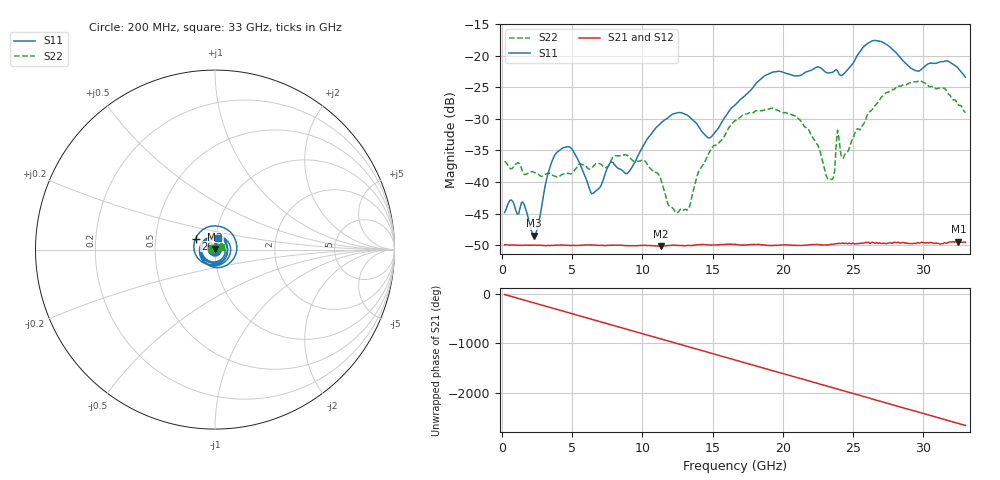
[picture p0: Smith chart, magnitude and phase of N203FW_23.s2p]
# GHZ S RI R 50
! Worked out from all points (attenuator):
!   329 points, 200 MHz to 33 GHz, reference 50 ohm
!   highest |S21| = -49.46 dB at 32.5 GHz (marker M1); lowest = -50.2 dB at 11.3 GHz (marker M2)
!   lowest |S11| = -48.5 dB at 2.3 GHz (marker M3), VSWR 1.01, Z = 50.1 + j0.353 ohm
!   |S11| at or under -10 dB: start of sweep to end of sweep
!   |S22| runs from -44.9 to -23.9 dB; largest |S21 - S12| = 8.7e-05
!   S11 on the Smith chart (normalised r, x): 200 MHz: 1.01, -0.00; 26 GHz: 0.80, +0.10; 33 GHz: 1.02, +0.14
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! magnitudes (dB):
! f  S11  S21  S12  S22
! 200 MHz  -44.9  -50.0  -49.9  -36.7
! 1.5 GHz  -43.2  -50.0  -50.0  -38.5
! 2.3 GHz  -48.5  -50.0  -50.0  -38.5
! 3.8 GHz  -35.6  -50.0  -50.0  -39.1
! 5.7 GHz  -37.9  -50.0  -50.0  -37.2
! 6.5 GHz  -41.8  -50.0  -50.0  -37.5
! 11.2 GHz  -30.9  -50.2  -50.1  -38.9
! 11.3 GHz  -30.7  -50.2  -50.1  -39.4
! 11.9 GHz  -29.7  -50.1  -50.0  -43.8
! 13.2 GHz  -29.4  -50.1  -50.1  -44.5
! 14.8 GHz  -33.0  -50.0  -50.0  -35.2
! 16.6 GHz  -27.8  -49.9  -49.9  -30.3
! 19.3 GHz  -22.6  -50.1  -50.1  -28.3
! 22.1 GHz  -22.2  -49.9  -49.9  -32.8
! 23.5 GHz  -22.6  -49.9  -49.8  -39.6
! 23.9 GHz  -22.3  -49.8  -49.8  -31.8
! 24.3 GHz  -22.9  -49.7  -49.6  -36.2
! 26 GHz  -18.1  -49.6  -49.6  -29.5
! 27.6 GHz  -18.5  -49.6  -49.7  -25.6
! 29.8 GHz  -22.2  -49.6  -49.7  -24.0
! 32.5 GHz  -22.0  -49.5  -49.4  -27.8
! 33 GHz  -23.4  -49.5  -49.6  -29.0
